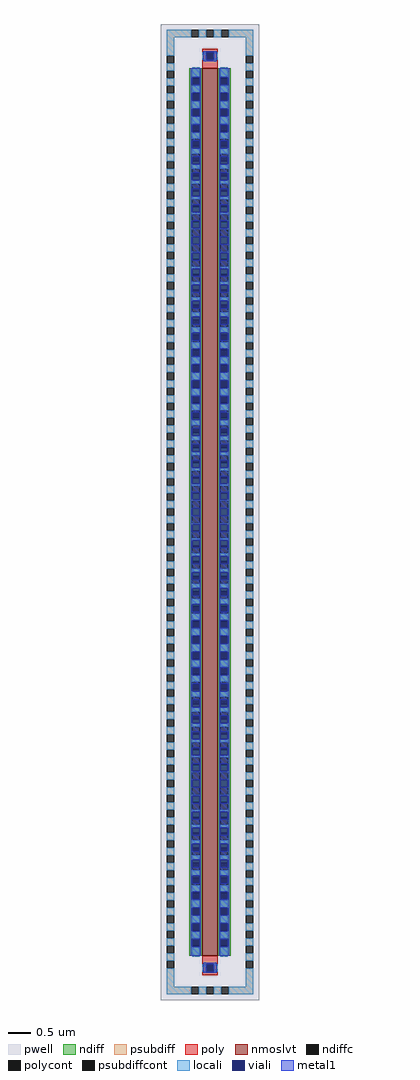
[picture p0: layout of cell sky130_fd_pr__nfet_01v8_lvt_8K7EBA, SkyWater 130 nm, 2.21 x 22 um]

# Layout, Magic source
magic
tech sky130A
magscale 1 2
<< pwell >>
rect -221 -2200 221 2200
<< nmoslvt >>
rect -35 -2000 35 2000
<< ndiff >>
rect -93 1955 -35 2000
rect -93 1921 -81 1955
rect -47 1921 -35 1955
rect -93 1887 -35 1921
rect -93 1853 -81 1887
rect -47 1853 -35 1887
rect -93 1819 -35 1853
rect -93 1785 -81 1819
rect -47 1785 -35 1819
rect -93 1751 -35 1785
rect -93 1717 -81 1751
rect -47 1717 -35 1751
rect -93 1683 -35 1717
rect -93 1649 -81 1683
rect -47 1649 -35 1683
rect -93 1615 -35 1649
rect -93 1581 -81 1615
rect -47 1581 -35 1615
rect -93 1547 -35 1581
rect -93 1513 -81 1547
rect -47 1513 -35 1547
rect -93 1479 -35 1513
rect -93 1445 -81 1479
rect -47 1445 -35 1479
rect -93 1411 -35 1445
rect -93 1377 -81 1411
rect -47 1377 -35 1411
rect -93 1343 -35 1377
rect -93 1309 -81 1343
rect -47 1309 -35 1343
rect -93 1275 -35 1309
rect -93 1241 -81 1275
rect -47 1241 -35 1275
rect -93 1207 -35 1241
rect -93 1173 -81 1207
rect -47 1173 -35 1207
rect -93 1139 -35 1173
rect -93 1105 -81 1139
rect -47 1105 -35 1139
rect -93 1071 -35 1105
rect -93 1037 -81 1071
rect -47 1037 -35 1071
rect -93 1003 -35 1037
rect -93 969 -81 1003
rect -47 969 -35 1003
rect -93 935 -35 969
rect -93 901 -81 935
rect -47 901 -35 935
rect -93 867 -35 901
rect -93 833 -81 867
rect -47 833 -35 867
rect -93 799 -35 833
rect -93 765 -81 799
rect -47 765 -35 799
rect -93 731 -35 765
rect -93 697 -81 731
rect -47 697 -35 731
rect -93 663 -35 697
rect -93 629 -81 663
rect -47 629 -35 663
rect -93 595 -35 629
rect -93 561 -81 595
rect -47 561 -35 595
rect -93 527 -35 561
rect -93 493 -81 527
rect -47 493 -35 527
rect -93 459 -35 493
rect -93 425 -81 459
rect -47 425 -35 459
rect -93 391 -35 425
rect -93 357 -81 391
rect -47 357 -35 391
rect -93 323 -35 357
rect -93 289 -81 323
rect -47 289 -35 323
rect -93 255 -35 289
rect -93 221 -81 255
rect -47 221 -35 255
rect -93 187 -35 221
rect -93 153 -81 187
rect -47 153 -35 187
rect -93 119 -35 153
rect -93 85 -81 119
rect -47 85 -35 119
rect -93 51 -35 85
rect -93 17 -81 51
rect -47 17 -35 51
rect -93 -17 -35 17
rect -93 -51 -81 -17
rect -47 -51 -35 -17
rect -93 -85 -35 -51
rect -93 -119 -81 -85
rect -47 -119 -35 -85
rect -93 -153 -35 -119
rect -93 -187 -81 -153
rect -47 -187 -35 -153
rect -93 -221 -35 -187
rect -93 -255 -81 -221
rect -47 -255 -35 -221
rect -93 -289 -35 -255
rect -93 -323 -81 -289
rect -47 -323 -35 -289
rect -93 -357 -35 -323
rect -93 -391 -81 -357
rect -47 -391 -35 -357
rect -93 -425 -35 -391
rect -93 -459 -81 -425
rect -47 -459 -35 -425
rect -93 -493 -35 -459
rect -93 -527 -81 -493
rect -47 -527 -35 -493
rect -93 -561 -35 -527
rect -93 -595 -81 -561
rect -47 -595 -35 -561
rect -93 -629 -35 -595
rect -93 -663 -81 -629
rect -47 -663 -35 -629
rect -93 -697 -35 -663
rect -93 -731 -81 -697
rect -47 -731 -35 -697
rect -93 -765 -35 -731
rect -93 -799 -81 -765
rect -47 -799 -35 -765
rect -93 -833 -35 -799
rect -93 -867 -81 -833
rect -47 -867 -35 -833
rect -93 -901 -35 -867
rect -93 -935 -81 -901
rect -47 -935 -35 -901
rect -93 -969 -35 -935
rect -93 -1003 -81 -969
rect -47 -1003 -35 -969
rect -93 -1037 -35 -1003
rect -93 -1071 -81 -1037
rect -47 -1071 -35 -1037
rect -93 -1105 -35 -1071
rect -93 -1139 -81 -1105
rect -47 -1139 -35 -1105
rect -93 -1173 -35 -1139
rect -93 -1207 -81 -1173
rect -47 -1207 -35 -1173
rect -93 -1241 -35 -1207
rect -93 -1275 -81 -1241
rect -47 -1275 -35 -1241
rect -93 -1309 -35 -1275
rect -93 -1343 -81 -1309
rect -47 -1343 -35 -1309
rect -93 -1377 -35 -1343
rect -93 -1411 -81 -1377
rect -47 -1411 -35 -1377
rect -93 -1445 -35 -1411
rect -93 -1479 -81 -1445
rect -47 -1479 -35 -1445
rect -93 -1513 -35 -1479
rect -93 -1547 -81 -1513
rect -47 -1547 -35 -1513
rect -93 -1581 -35 -1547
rect -93 -1615 -81 -1581
rect -47 -1615 -35 -1581
rect -93 -1649 -35 -1615
rect -93 -1683 -81 -1649
rect -47 -1683 -35 -1649
rect -93 -1717 -35 -1683
rect -93 -1751 -81 -1717
rect -47 -1751 -35 -1717
rect -93 -1785 -35 -1751
rect -93 -1819 -81 -1785
rect -47 -1819 -35 -1785
rect -93 -1853 -35 -1819
rect -93 -1887 -81 -1853
rect -47 -1887 -35 -1853
rect -93 -1921 -35 -1887
rect -93 -1955 -81 -1921
rect -47 -1955 -35 -1921
rect -93 -2000 -35 -1955
rect 35 1955 93 2000
rect 35 1921 47 1955
rect 81 1921 93 1955
rect 35 1887 93 1921
rect 35 1853 47 1887
rect 81 1853 93 1887
rect 35 1819 93 1853
rect 35 1785 47 1819
rect 81 1785 93 1819
rect 35 1751 93 1785
rect 35 1717 47 1751
rect 81 1717 93 1751
rect 35 1683 93 1717
rect 35 1649 47 1683
rect 81 1649 93 1683
rect 35 1615 93 1649
rect 35 1581 47 1615
rect 81 1581 93 1615
rect 35 1547 93 1581
rect 35 1513 47 1547
rect 81 1513 93 1547
rect 35 1479 93 1513
rect 35 1445 47 1479
rect 81 1445 93 1479
rect 35 1411 93 1445
rect 35 1377 47 1411
rect 81 1377 93 1411
rect 35 1343 93 1377
rect 35 1309 47 1343
rect 81 1309 93 1343
rect 35 1275 93 1309
rect 35 1241 47 1275
rect 81 1241 93 1275
rect 35 1207 93 1241
rect 35 1173 47 1207
rect 81 1173 93 1207
rect 35 1139 93 1173
rect 35 1105 47 1139
rect 81 1105 93 1139
rect 35 1071 93 1105
rect 35 1037 47 1071
rect 81 1037 93 1071
rect 35 1003 93 1037
rect 35 969 47 1003
rect 81 969 93 1003
rect 35 935 93 969
rect 35 901 47 935
rect 81 901 93 935
rect 35 867 93 901
rect 35 833 47 867
rect 81 833 93 867
rect 35 799 93 833
rect 35 765 47 799
rect 81 765 93 799
rect 35 731 93 765
rect 35 697 47 731
rect 81 697 93 731
rect 35 663 93 697
rect 35 629 47 663
rect 81 629 93 663
rect 35 595 93 629
rect 35 561 47 595
rect 81 561 93 595
rect 35 527 93 561
rect 35 493 47 527
rect 81 493 93 527
rect 35 459 93 493
rect 35 425 47 459
rect 81 425 93 459
rect 35 391 93 425
rect 35 357 47 391
rect 81 357 93 391
rect 35 323 93 357
rect 35 289 47 323
rect 81 289 93 323
rect 35 255 93 289
rect 35 221 47 255
rect 81 221 93 255
rect 35 187 93 221
rect 35 153 47 187
rect 81 153 93 187
rect 35 119 93 153
rect 35 85 47 119
rect 81 85 93 119
rect 35 51 93 85
rect 35 17 47 51
rect 81 17 93 51
rect 35 -17 93 17
rect 35 -51 47 -17
rect 81 -51 93 -17
rect 35 -85 93 -51
rect 35 -119 47 -85
rect 81 -119 93 -85
rect 35 -153 93 -119
rect 35 -187 47 -153
rect 81 -187 93 -153
rect 35 -221 93 -187
rect 35 -255 47 -221
rect 81 -255 93 -221
rect 35 -289 93 -255
rect 35 -323 47 -289
rect 81 -323 93 -289
rect 35 -357 93 -323
rect 35 -391 47 -357
rect 81 -391 93 -357
rect 35 -425 93 -391
rect 35 -459 47 -425
rect 81 -459 93 -425
rect 35 -493 93 -459
rect 35 -527 47 -493
rect 81 -527 93 -493
rect 35 -561 93 -527
rect 35 -595 47 -561
rect 81 -595 93 -561
rect 35 -629 93 -595
rect 35 -663 47 -629
rect 81 -663 93 -629
rect 35 -697 93 -663
rect 35 -731 47 -697
rect 81 -731 93 -697
rect 35 -765 93 -731
rect 35 -799 47 -765
rect 81 -799 93 -765
rect 35 -833 93 -799
rect 35 -867 47 -833
rect 81 -867 93 -833
rect 35 -901 93 -867
rect 35 -935 47 -901
rect 81 -935 93 -901
rect 35 -969 93 -935
rect 35 -1003 47 -969
rect 81 -1003 93 -969
rect 35 -1037 93 -1003
rect 35 -1071 47 -1037
rect 81 -1071 93 -1037
rect 35 -1105 93 -1071
rect 35 -1139 47 -1105
rect 81 -1139 93 -1105
rect 35 -1173 93 -1139
rect 35 -1207 47 -1173
rect 81 -1207 93 -1173
rect 35 -1241 93 -1207
rect 35 -1275 47 -1241
rect 81 -1275 93 -1241
rect 35 -1309 93 -1275
rect 35 -1343 47 -1309
rect 81 -1343 93 -1309
rect 35 -1377 93 -1343
rect 35 -1411 47 -1377
rect 81 -1411 93 -1377
rect 35 -1445 93 -1411
rect 35 -1479 47 -1445
rect 81 -1479 93 -1445
rect 35 -1513 93 -1479
rect 35 -1547 47 -1513
rect 81 -1547 93 -1513
rect 35 -1581 93 -1547
rect 35 -1615 47 -1581
rect 81 -1615 93 -1581
rect 35 -1649 93 -1615
rect 35 -1683 47 -1649
rect 81 -1683 93 -1649
rect 35 -1717 93 -1683
rect 35 -1751 47 -1717
rect 81 -1751 93 -1717
rect 35 -1785 93 -1751
rect 35 -1819 47 -1785
rect 81 -1819 93 -1785
rect 35 -1853 93 -1819
rect 35 -1887 47 -1853
rect 81 -1887 93 -1853
rect 35 -1921 93 -1887
rect 35 -1955 47 -1921
rect 81 -1955 93 -1921
rect 35 -2000 93 -1955
<< ndiffc >>
rect -81 1921 -47 1955
rect -81 1853 -47 1887
rect -81 1785 -47 1819
rect -81 1717 -47 1751
rect -81 1649 -47 1683
rect -81 1581 -47 1615
rect -81 1513 -47 1547
rect -81 1445 -47 1479
rect -81 1377 -47 1411
rect -81 1309 -47 1343
rect -81 1241 -47 1275
rect -81 1173 -47 1207
rect -81 1105 -47 1139
rect -81 1037 -47 1071
rect -81 969 -47 1003
rect -81 901 -47 935
rect -81 833 -47 867
rect -81 765 -47 799
rect -81 697 -47 731
rect -81 629 -47 663
rect -81 561 -47 595
rect -81 493 -47 527
rect -81 425 -47 459
rect -81 357 -47 391
rect -81 289 -47 323
rect -81 221 -47 255
rect -81 153 -47 187
rect -81 85 -47 119
rect -81 17 -47 51
rect -81 -51 -47 -17
rect -81 -119 -47 -85
rect -81 -187 -47 -153
rect -81 -255 -47 -221
rect -81 -323 -47 -289
rect -81 -391 -47 -357
rect -81 -459 -47 -425
rect -81 -527 -47 -493
rect -81 -595 -47 -561
rect -81 -663 -47 -629
rect -81 -731 -47 -697
rect -81 -799 -47 -765
rect -81 -867 -47 -833
rect -81 -935 -47 -901
rect -81 -1003 -47 -969
rect -81 -1071 -47 -1037
rect -81 -1139 -47 -1105
rect -81 -1207 -47 -1173
rect -81 -1275 -47 -1241
rect -81 -1343 -47 -1309
rect -81 -1411 -47 -1377
rect -81 -1479 -47 -1445
rect -81 -1547 -47 -1513
rect -81 -1615 -47 -1581
rect -81 -1683 -47 -1649
rect -81 -1751 -47 -1717
rect -81 -1819 -47 -1785
rect -81 -1887 -47 -1853
rect -81 -1955 -47 -1921
rect 47 1921 81 1955
rect 47 1853 81 1887
rect 47 1785 81 1819
rect 47 1717 81 1751
rect 47 1649 81 1683
rect 47 1581 81 1615
rect 47 1513 81 1547
rect 47 1445 81 1479
rect 47 1377 81 1411
rect 47 1309 81 1343
rect 47 1241 81 1275
rect 47 1173 81 1207
rect 47 1105 81 1139
rect 47 1037 81 1071
rect 47 969 81 1003
rect 47 901 81 935
rect 47 833 81 867
rect 47 765 81 799
rect 47 697 81 731
rect 47 629 81 663
rect 47 561 81 595
rect 47 493 81 527
rect 47 425 81 459
rect 47 357 81 391
rect 47 289 81 323
rect 47 221 81 255
rect 47 153 81 187
rect 47 85 81 119
rect 47 17 81 51
rect 47 -51 81 -17
rect 47 -119 81 -85
rect 47 -187 81 -153
rect 47 -255 81 -221
rect 47 -323 81 -289
rect 47 -391 81 -357
rect 47 -459 81 -425
rect 47 -527 81 -493
rect 47 -595 81 -561
rect 47 -663 81 -629
rect 47 -731 81 -697
rect 47 -799 81 -765
rect 47 -867 81 -833
rect 47 -935 81 -901
rect 47 -1003 81 -969
rect 47 -1071 81 -1037
rect 47 -1139 81 -1105
rect 47 -1207 81 -1173
rect 47 -1275 81 -1241
rect 47 -1343 81 -1309
rect 47 -1411 81 -1377
rect 47 -1479 81 -1445
rect 47 -1547 81 -1513
rect 47 -1615 81 -1581
rect 47 -1683 81 -1649
rect 47 -1751 81 -1717
rect 47 -1819 81 -1785
rect 47 -1887 81 -1853
rect 47 -1955 81 -1921
<< psubdiff >>
rect -195 2140 -85 2174
rect -51 2140 -17 2174
rect 17 2140 51 2174
rect 85 2140 195 2174
rect -195 2057 -161 2140
rect -195 1989 -161 2023
rect 161 2057 195 2140
rect -195 1921 -161 1955
rect -195 1853 -161 1887
rect -195 1785 -161 1819
rect -195 1717 -161 1751
rect -195 1649 -161 1683
rect -195 1581 -161 1615
rect -195 1513 -161 1547
rect -195 1445 -161 1479
rect -195 1377 -161 1411
rect -195 1309 -161 1343
rect -195 1241 -161 1275
rect -195 1173 -161 1207
rect -195 1105 -161 1139
rect -195 1037 -161 1071
rect -195 969 -161 1003
rect -195 901 -161 935
rect -195 833 -161 867
rect -195 765 -161 799
rect -195 697 -161 731
rect -195 629 -161 663
rect -195 561 -161 595
rect -195 493 -161 527
rect -195 425 -161 459
rect -195 357 -161 391
rect -195 289 -161 323
rect -195 221 -161 255
rect -195 153 -161 187
rect -195 85 -161 119
rect -195 17 -161 51
rect -195 -51 -161 -17
rect -195 -119 -161 -85
rect -195 -187 -161 -153
rect -195 -255 -161 -221
rect -195 -323 -161 -289
rect -195 -391 -161 -357
rect -195 -459 -161 -425
rect -195 -527 -161 -493
rect -195 -595 -161 -561
rect -195 -663 -161 -629
rect -195 -731 -161 -697
rect -195 -799 -161 -765
rect -195 -867 -161 -833
rect -195 -935 -161 -901
rect -195 -1003 -161 -969
rect -195 -1071 -161 -1037
rect -195 -1139 -161 -1105
rect -195 -1207 -161 -1173
rect -195 -1275 -161 -1241
rect -195 -1343 -161 -1309
rect -195 -1411 -161 -1377
rect -195 -1479 -161 -1445
rect -195 -1547 -161 -1513
rect -195 -1615 -161 -1581
rect -195 -1683 -161 -1649
rect -195 -1751 -161 -1717
rect -195 -1819 -161 -1785
rect -195 -1887 -161 -1853
rect -195 -1955 -161 -1921
rect -195 -2023 -161 -1989
rect 161 1989 195 2023
rect 161 1921 195 1955
rect 161 1853 195 1887
rect 161 1785 195 1819
rect 161 1717 195 1751
rect 161 1649 195 1683
rect 161 1581 195 1615
rect 161 1513 195 1547
rect 161 1445 195 1479
rect 161 1377 195 1411
rect 161 1309 195 1343
rect 161 1241 195 1275
rect 161 1173 195 1207
rect 161 1105 195 1139
rect 161 1037 195 1071
rect 161 969 195 1003
rect 161 901 195 935
rect 161 833 195 867
rect 161 765 195 799
rect 161 697 195 731
rect 161 629 195 663
rect 161 561 195 595
rect 161 493 195 527
rect 161 425 195 459
rect 161 357 195 391
rect 161 289 195 323
rect 161 221 195 255
rect 161 153 195 187
rect 161 85 195 119
rect 161 17 195 51
rect 161 -51 195 -17
rect 161 -119 195 -85
rect 161 -187 195 -153
rect 161 -255 195 -221
rect 161 -323 195 -289
rect 161 -391 195 -357
rect 161 -459 195 -425
rect 161 -527 195 -493
rect 161 -595 195 -561
rect 161 -663 195 -629
rect 161 -731 195 -697
rect 161 -799 195 -765
rect 161 -867 195 -833
rect 161 -935 195 -901
rect 161 -1003 195 -969
rect 161 -1071 195 -1037
rect 161 -1139 195 -1105
rect 161 -1207 195 -1173
rect 161 -1275 195 -1241
rect 161 -1343 195 -1309
rect 161 -1411 195 -1377
rect 161 -1479 195 -1445
rect 161 -1547 195 -1513
rect 161 -1615 195 -1581
rect 161 -1683 195 -1649
rect 161 -1751 195 -1717
rect 161 -1819 195 -1785
rect 161 -1887 195 -1853
rect 161 -1955 195 -1921
rect -195 -2140 -161 -2057
rect 161 -2023 195 -1989
rect 161 -2140 195 -2057
rect -195 -2174 -85 -2140
rect -51 -2174 -17 -2140
rect 17 -2174 51 -2140
rect 85 -2174 195 -2140
<< psubdiffcont >>
rect -85 2140 -51 2174
rect -17 2140 17 2174
rect 51 2140 85 2174
rect -195 2023 -161 2057
rect 161 2023 195 2057
rect -195 1955 -161 1989
rect -195 1887 -161 1921
rect -195 1819 -161 1853
rect -195 1751 -161 1785
rect -195 1683 -161 1717
rect -195 1615 -161 1649
rect -195 1547 -161 1581
rect -195 1479 -161 1513
rect -195 1411 -161 1445
rect -195 1343 -161 1377
rect -195 1275 -161 1309
rect -195 1207 -161 1241
rect -195 1139 -161 1173
rect -195 1071 -161 1105
rect -195 1003 -161 1037
rect -195 935 -161 969
rect -195 867 -161 901
rect -195 799 -161 833
rect -195 731 -161 765
rect -195 663 -161 697
rect -195 595 -161 629
rect -195 527 -161 561
rect -195 459 -161 493
rect -195 391 -161 425
rect -195 323 -161 357
rect -195 255 -161 289
rect -195 187 -161 221
rect -195 119 -161 153
rect -195 51 -161 85
rect -195 -17 -161 17
rect -195 -85 -161 -51
rect -195 -153 -161 -119
rect -195 -221 -161 -187
rect -195 -289 -161 -255
rect -195 -357 -161 -323
rect -195 -425 -161 -391
rect -195 -493 -161 -459
rect -195 -561 -161 -527
rect -195 -629 -161 -595
rect -195 -697 -161 -663
rect -195 -765 -161 -731
rect -195 -833 -161 -799
rect -195 -901 -161 -867
rect -195 -969 -161 -935
rect -195 -1037 -161 -1003
rect -195 -1105 -161 -1071
rect -195 -1173 -161 -1139
rect -195 -1241 -161 -1207
rect -195 -1309 -161 -1275
rect -195 -1377 -161 -1343
rect -195 -1445 -161 -1411
rect -195 -1513 -161 -1479
rect -195 -1581 -161 -1547
rect -195 -1649 -161 -1615
rect -195 -1717 -161 -1683
rect -195 -1785 -161 -1751
rect -195 -1853 -161 -1819
rect -195 -1921 -161 -1887
rect -195 -1989 -161 -1955
rect 161 1955 195 1989
rect 161 1887 195 1921
rect 161 1819 195 1853
rect 161 1751 195 1785
rect 161 1683 195 1717
rect 161 1615 195 1649
rect 161 1547 195 1581
rect 161 1479 195 1513
rect 161 1411 195 1445
rect 161 1343 195 1377
rect 161 1275 195 1309
rect 161 1207 195 1241
rect 161 1139 195 1173
rect 161 1071 195 1105
rect 161 1003 195 1037
rect 161 935 195 969
rect 161 867 195 901
rect 161 799 195 833
rect 161 731 195 765
rect 161 663 195 697
rect 161 595 195 629
rect 161 527 195 561
rect 161 459 195 493
rect 161 391 195 425
rect 161 323 195 357
rect 161 255 195 289
rect 161 187 195 221
rect 161 119 195 153
rect 161 51 195 85
rect 161 -17 195 17
rect 161 -85 195 -51
rect 161 -153 195 -119
rect 161 -221 195 -187
rect 161 -289 195 -255
rect 161 -357 195 -323
rect 161 -425 195 -391
rect 161 -493 195 -459
rect 161 -561 195 -527
rect 161 -629 195 -595
rect 161 -697 195 -663
rect 161 -765 195 -731
rect 161 -833 195 -799
rect 161 -901 195 -867
rect 161 -969 195 -935
rect 161 -1037 195 -1003
rect 161 -1105 195 -1071
rect 161 -1173 195 -1139
rect 161 -1241 195 -1207
rect 161 -1309 195 -1275
rect 161 -1377 195 -1343
rect 161 -1445 195 -1411
rect 161 -1513 195 -1479
rect 161 -1581 195 -1547
rect 161 -1649 195 -1615
rect 161 -1717 195 -1683
rect 161 -1785 195 -1751
rect 161 -1853 195 -1819
rect 161 -1921 195 -1887
rect 161 -1989 195 -1955
rect -195 -2057 -161 -2023
rect 161 -2057 195 -2023
rect -85 -2174 -51 -2140
rect -17 -2174 17 -2140
rect 51 -2174 85 -2140
<< poly >>
rect -35 2072 35 2088
rect -35 2038 -17 2072
rect 17 2038 35 2072
rect -35 2000 35 2038
rect -35 -2038 35 -2000
rect -35 -2072 -17 -2038
rect 17 -2072 35 -2038
rect -35 -2088 35 -2072
<< polycont >>
rect -17 2038 17 2072
rect -17 -2072 17 -2038
<< locali >>
rect -195 2140 -85 2174
rect -51 2140 -17 2174
rect 17 2140 51 2174
rect 85 2140 195 2174
rect -195 2057 -161 2140
rect -35 2038 -17 2072
rect 17 2038 35 2072
rect 161 2057 195 2140
rect -195 1989 -161 2023
rect -195 1921 -161 1955
rect -195 1853 -161 1887
rect -195 1785 -161 1819
rect -195 1717 -161 1751
rect -195 1649 -161 1683
rect -195 1581 -161 1615
rect -195 1513 -161 1547
rect -195 1445 -161 1479
rect -195 1377 -161 1411
rect -195 1309 -161 1343
rect -195 1241 -161 1275
rect -195 1173 -161 1207
rect -195 1105 -161 1139
rect -195 1037 -161 1071
rect -195 969 -161 1003
rect -195 901 -161 935
rect -195 833 -161 867
rect -195 765 -161 799
rect -195 697 -161 731
rect -195 629 -161 663
rect -195 561 -161 595
rect -195 493 -161 527
rect -195 425 -161 459
rect -195 357 -161 391
rect -195 289 -161 323
rect -195 221 -161 255
rect -195 153 -161 187
rect -195 85 -161 119
rect -195 17 -161 51
rect -195 -51 -161 -17
rect -195 -119 -161 -85
rect -195 -187 -161 -153
rect -195 -255 -161 -221
rect -195 -323 -161 -289
rect -195 -391 -161 -357
rect -195 -459 -161 -425
rect -195 -527 -161 -493
rect -195 -595 -161 -561
rect -195 -663 -161 -629
rect -195 -731 -161 -697
rect -195 -799 -161 -765
rect -195 -867 -161 -833
rect -195 -935 -161 -901
rect -195 -1003 -161 -969
rect -195 -1071 -161 -1037
rect -195 -1139 -161 -1105
rect -195 -1207 -161 -1173
rect -195 -1275 -161 -1241
rect -195 -1343 -161 -1309
rect -195 -1411 -161 -1377
rect -195 -1479 -161 -1445
rect -195 -1547 -161 -1513
rect -195 -1615 -161 -1581
rect -195 -1683 -161 -1649
rect -195 -1751 -161 -1717
rect -195 -1819 -161 -1785
rect -195 -1887 -161 -1853
rect -195 -1955 -161 -1921
rect -195 -2023 -161 -1989
rect -81 1961 -47 2004
rect -81 1889 -47 1921
rect -81 1819 -47 1853
rect -81 1751 -47 1783
rect -81 1683 -47 1711
rect -81 1615 -47 1639
rect -81 1547 -47 1567
rect -81 1479 -47 1495
rect -81 1411 -47 1423
rect -81 1343 -47 1351
rect -81 1275 -47 1279
rect -81 1169 -47 1173
rect -81 1097 -47 1105
rect -81 1025 -47 1037
rect -81 953 -47 969
rect -81 881 -47 901
rect -81 809 -47 833
rect -81 737 -47 765
rect -81 665 -47 697
rect -81 595 -47 629
rect -81 527 -47 559
rect -81 459 -47 487
rect -81 391 -47 415
rect -81 323 -47 343
rect -81 255 -47 271
rect -81 187 -47 199
rect -81 119 -47 127
rect -81 51 -47 55
rect -81 -55 -47 -51
rect -81 -127 -47 -119
rect -81 -199 -47 -187
rect -81 -271 -47 -255
rect -81 -343 -47 -323
rect -81 -415 -47 -391
rect -81 -487 -47 -459
rect -81 -559 -47 -527
rect -81 -629 -47 -595
rect -81 -697 -47 -665
rect -81 -765 -47 -737
rect -81 -833 -47 -809
rect -81 -901 -47 -881
rect -81 -969 -47 -953
rect -81 -1037 -47 -1025
rect -81 -1105 -47 -1097
rect -81 -1173 -47 -1169
rect -81 -1279 -47 -1275
rect -81 -1351 -47 -1343
rect -81 -1423 -47 -1411
rect -81 -1495 -47 -1479
rect -81 -1567 -47 -1547
rect -81 -1639 -47 -1615
rect -81 -1711 -47 -1683
rect -81 -1783 -47 -1751
rect -81 -1853 -47 -1819
rect -81 -1921 -47 -1889
rect -81 -2004 -47 -1961
rect 47 1961 81 2004
rect 47 1889 81 1921
rect 47 1819 81 1853
rect 47 1751 81 1783
rect 47 1683 81 1711
rect 47 1615 81 1639
rect 47 1547 81 1567
rect 47 1479 81 1495
rect 47 1411 81 1423
rect 47 1343 81 1351
rect 47 1275 81 1279
rect 47 1169 81 1173
rect 47 1097 81 1105
rect 47 1025 81 1037
rect 47 953 81 969
rect 47 881 81 901
rect 47 809 81 833
rect 47 737 81 765
rect 47 665 81 697
rect 47 595 81 629
rect 47 527 81 559
rect 47 459 81 487
rect 47 391 81 415
rect 47 323 81 343
rect 47 255 81 271
rect 47 187 81 199
rect 47 119 81 127
rect 47 51 81 55
rect 47 -55 81 -51
rect 47 -127 81 -119
rect 47 -199 81 -187
rect 47 -271 81 -255
rect 47 -343 81 -323
rect 47 -415 81 -391
rect 47 -487 81 -459
rect 47 -559 81 -527
rect 47 -629 81 -595
rect 47 -697 81 -665
rect 47 -765 81 -737
rect 47 -833 81 -809
rect 47 -901 81 -881
rect 47 -969 81 -953
rect 47 -1037 81 -1025
rect 47 -1105 81 -1097
rect 47 -1173 81 -1169
rect 47 -1279 81 -1275
rect 47 -1351 81 -1343
rect 47 -1423 81 -1411
rect 47 -1495 81 -1479
rect 47 -1567 81 -1547
rect 47 -1639 81 -1615
rect 47 -1711 81 -1683
rect 47 -1783 81 -1751
rect 47 -1853 81 -1819
rect 47 -1921 81 -1889
rect 47 -2004 81 -1961
rect 161 1989 195 2023
rect 161 1921 195 1955
rect 161 1853 195 1887
rect 161 1785 195 1819
rect 161 1717 195 1751
rect 161 1649 195 1683
rect 161 1581 195 1615
rect 161 1513 195 1547
rect 161 1445 195 1479
rect 161 1377 195 1411
rect 161 1309 195 1343
rect 161 1241 195 1275
rect 161 1173 195 1207
rect 161 1105 195 1139
rect 161 1037 195 1071
rect 161 969 195 1003
rect 161 901 195 935
rect 161 833 195 867
rect 161 765 195 799
rect 161 697 195 731
rect 161 629 195 663
rect 161 561 195 595
rect 161 493 195 527
rect 161 425 195 459
rect 161 357 195 391
rect 161 289 195 323
rect 161 221 195 255
rect 161 153 195 187
rect 161 85 195 119
rect 161 17 195 51
rect 161 -51 195 -17
rect 161 -119 195 -85
rect 161 -187 195 -153
rect 161 -255 195 -221
rect 161 -323 195 -289
rect 161 -391 195 -357
rect 161 -459 195 -425
rect 161 -527 195 -493
rect 161 -595 195 -561
rect 161 -663 195 -629
rect 161 -731 195 -697
rect 161 -799 195 -765
rect 161 -867 195 -833
rect 161 -935 195 -901
rect 161 -1003 195 -969
rect 161 -1071 195 -1037
rect 161 -1139 195 -1105
rect 161 -1207 195 -1173
rect 161 -1275 195 -1241
rect 161 -1343 195 -1309
rect 161 -1411 195 -1377
rect 161 -1479 195 -1445
rect 161 -1547 195 -1513
rect 161 -1615 195 -1581
rect 161 -1683 195 -1649
rect 161 -1751 195 -1717
rect 161 -1819 195 -1785
rect 161 -1887 195 -1853
rect 161 -1955 195 -1921
rect 161 -2023 195 -1989
rect -195 -2140 -161 -2057
rect -35 -2072 -17 -2038
rect 17 -2072 35 -2038
rect 161 -2140 195 -2057
rect -195 -2174 -85 -2140
rect -51 -2174 -17 -2140
rect 17 -2174 51 -2140
rect 85 -2174 195 -2140
<< viali >>
rect -17 2038 17 2072
rect -81 1955 -47 1961
rect -81 1927 -47 1955
rect -81 1887 -47 1889
rect -81 1855 -47 1887
rect -81 1785 -47 1817
rect -81 1783 -47 1785
rect -81 1717 -47 1745
rect -81 1711 -47 1717
rect -81 1649 -47 1673
rect -81 1639 -47 1649
rect -81 1581 -47 1601
rect -81 1567 -47 1581
rect -81 1513 -47 1529
rect -81 1495 -47 1513
rect -81 1445 -47 1457
rect -81 1423 -47 1445
rect -81 1377 -47 1385
rect -81 1351 -47 1377
rect -81 1309 -47 1313
rect -81 1279 -47 1309
rect -81 1207 -47 1241
rect -81 1139 -47 1169
rect -81 1135 -47 1139
rect -81 1071 -47 1097
rect -81 1063 -47 1071
rect -81 1003 -47 1025
rect -81 991 -47 1003
rect -81 935 -47 953
rect -81 919 -47 935
rect -81 867 -47 881
rect -81 847 -47 867
rect -81 799 -47 809
rect -81 775 -47 799
rect -81 731 -47 737
rect -81 703 -47 731
rect -81 663 -47 665
rect -81 631 -47 663
rect -81 561 -47 593
rect -81 559 -47 561
rect -81 493 -47 521
rect -81 487 -47 493
rect -81 425 -47 449
rect -81 415 -47 425
rect -81 357 -47 377
rect -81 343 -47 357
rect -81 289 -47 305
rect -81 271 -47 289
rect -81 221 -47 233
rect -81 199 -47 221
rect -81 153 -47 161
rect -81 127 -47 153
rect -81 85 -47 89
rect -81 55 -47 85
rect -81 -17 -47 17
rect -81 -85 -47 -55
rect -81 -89 -47 -85
rect -81 -153 -47 -127
rect -81 -161 -47 -153
rect -81 -221 -47 -199
rect -81 -233 -47 -221
rect -81 -289 -47 -271
rect -81 -305 -47 -289
rect -81 -357 -47 -343
rect -81 -377 -47 -357
rect -81 -425 -47 -415
rect -81 -449 -47 -425
rect -81 -493 -47 -487
rect -81 -521 -47 -493
rect -81 -561 -47 -559
rect -81 -593 -47 -561
rect -81 -663 -47 -631
rect -81 -665 -47 -663
rect -81 -731 -47 -703
rect -81 -737 -47 -731
rect -81 -799 -47 -775
rect -81 -809 -47 -799
rect -81 -867 -47 -847
rect -81 -881 -47 -867
rect -81 -935 -47 -919
rect -81 -953 -47 -935
rect -81 -1003 -47 -991
rect -81 -1025 -47 -1003
rect -81 -1071 -47 -1063
rect -81 -1097 -47 -1071
rect -81 -1139 -47 -1135
rect -81 -1169 -47 -1139
rect -81 -1241 -47 -1207
rect -81 -1309 -47 -1279
rect -81 -1313 -47 -1309
rect -81 -1377 -47 -1351
rect -81 -1385 -47 -1377
rect -81 -1445 -47 -1423
rect -81 -1457 -47 -1445
rect -81 -1513 -47 -1495
rect -81 -1529 -47 -1513
rect -81 -1581 -47 -1567
rect -81 -1601 -47 -1581
rect -81 -1649 -47 -1639
rect -81 -1673 -47 -1649
rect -81 -1717 -47 -1711
rect -81 -1745 -47 -1717
rect -81 -1785 -47 -1783
rect -81 -1817 -47 -1785
rect -81 -1887 -47 -1855
rect -81 -1889 -47 -1887
rect -81 -1955 -47 -1927
rect -81 -1961 -47 -1955
rect 47 1955 81 1961
rect 47 1927 81 1955
rect 47 1887 81 1889
rect 47 1855 81 1887
rect 47 1785 81 1817
rect 47 1783 81 1785
rect 47 1717 81 1745
rect 47 1711 81 1717
rect 47 1649 81 1673
rect 47 1639 81 1649
rect 47 1581 81 1601
rect 47 1567 81 1581
rect 47 1513 81 1529
rect 47 1495 81 1513
rect 47 1445 81 1457
rect 47 1423 81 1445
rect 47 1377 81 1385
rect 47 1351 81 1377
rect 47 1309 81 1313
rect 47 1279 81 1309
rect 47 1207 81 1241
rect 47 1139 81 1169
rect 47 1135 81 1139
rect 47 1071 81 1097
rect 47 1063 81 1071
rect 47 1003 81 1025
rect 47 991 81 1003
rect 47 935 81 953
rect 47 919 81 935
rect 47 867 81 881
rect 47 847 81 867
rect 47 799 81 809
rect 47 775 81 799
rect 47 731 81 737
rect 47 703 81 731
rect 47 663 81 665
rect 47 631 81 663
rect 47 561 81 593
rect 47 559 81 561
rect 47 493 81 521
rect 47 487 81 493
rect 47 425 81 449
rect 47 415 81 425
rect 47 357 81 377
rect 47 343 81 357
rect 47 289 81 305
rect 47 271 81 289
rect 47 221 81 233
rect 47 199 81 221
rect 47 153 81 161
rect 47 127 81 153
rect 47 85 81 89
rect 47 55 81 85
rect 47 -17 81 17
rect 47 -85 81 -55
rect 47 -89 81 -85
rect 47 -153 81 -127
rect 47 -161 81 -153
rect 47 -221 81 -199
rect 47 -233 81 -221
rect 47 -289 81 -271
rect 47 -305 81 -289
rect 47 -357 81 -343
rect 47 -377 81 -357
rect 47 -425 81 -415
rect 47 -449 81 -425
rect 47 -493 81 -487
rect 47 -521 81 -493
rect 47 -561 81 -559
rect 47 -593 81 -561
rect 47 -663 81 -631
rect 47 -665 81 -663
rect 47 -731 81 -703
rect 47 -737 81 -731
rect 47 -799 81 -775
rect 47 -809 81 -799
rect 47 -867 81 -847
rect 47 -881 81 -867
rect 47 -935 81 -919
rect 47 -953 81 -935
rect 47 -1003 81 -991
rect 47 -1025 81 -1003
rect 47 -1071 81 -1063
rect 47 -1097 81 -1071
rect 47 -1139 81 -1135
rect 47 -1169 81 -1139
rect 47 -1241 81 -1207
rect 47 -1309 81 -1279
rect 47 -1313 81 -1309
rect 47 -1377 81 -1351
rect 47 -1385 81 -1377
rect 47 -1445 81 -1423
rect 47 -1457 81 -1445
rect 47 -1513 81 -1495
rect 47 -1529 81 -1513
rect 47 -1581 81 -1567
rect 47 -1601 81 -1581
rect 47 -1649 81 -1639
rect 47 -1673 81 -1649
rect 47 -1717 81 -1711
rect 47 -1745 81 -1717
rect 47 -1785 81 -1783
rect 47 -1817 81 -1785
rect 47 -1887 81 -1855
rect 47 -1889 81 -1887
rect 47 -1955 81 -1927
rect 47 -1961 81 -1955
rect -17 -2072 17 -2038
<< metal1 >>
rect -31 2072 31 2078
rect -31 2038 -17 2072
rect 17 2038 31 2072
rect -31 2032 31 2038
rect -87 1961 -41 2000
rect -87 1927 -81 1961
rect -47 1927 -41 1961
rect -87 1889 -41 1927
rect -87 1855 -81 1889
rect -47 1855 -41 1889
rect -87 1817 -41 1855
rect -87 1783 -81 1817
rect -47 1783 -41 1817
rect -87 1745 -41 1783
rect -87 1711 -81 1745
rect -47 1711 -41 1745
rect -87 1673 -41 1711
rect -87 1639 -81 1673
rect -47 1639 -41 1673
rect -87 1601 -41 1639
rect -87 1567 -81 1601
rect -47 1567 -41 1601
rect -87 1529 -41 1567
rect -87 1495 -81 1529
rect -47 1495 -41 1529
rect -87 1457 -41 1495
rect -87 1423 -81 1457
rect -47 1423 -41 1457
rect -87 1385 -41 1423
rect -87 1351 -81 1385
rect -47 1351 -41 1385
rect -87 1313 -41 1351
rect -87 1279 -81 1313
rect -47 1279 -41 1313
rect -87 1241 -41 1279
rect -87 1207 -81 1241
rect -47 1207 -41 1241
rect -87 1169 -41 1207
rect -87 1135 -81 1169
rect -47 1135 -41 1169
rect -87 1097 -41 1135
rect -87 1063 -81 1097
rect -47 1063 -41 1097
rect -87 1025 -41 1063
rect -87 991 -81 1025
rect -47 991 -41 1025
rect -87 953 -41 991
rect -87 919 -81 953
rect -47 919 -41 953
rect -87 881 -41 919
rect -87 847 -81 881
rect -47 847 -41 881
rect -87 809 -41 847
rect -87 775 -81 809
rect -47 775 -41 809
rect -87 737 -41 775
rect -87 703 -81 737
rect -47 703 -41 737
rect -87 665 -41 703
rect -87 631 -81 665
rect -47 631 -41 665
rect -87 593 -41 631
rect -87 559 -81 593
rect -47 559 -41 593
rect -87 521 -41 559
rect -87 487 -81 521
rect -47 487 -41 521
rect -87 449 -41 487
rect -87 415 -81 449
rect -47 415 -41 449
rect -87 377 -41 415
rect -87 343 -81 377
rect -47 343 -41 377
rect -87 305 -41 343
rect -87 271 -81 305
rect -47 271 -41 305
rect -87 233 -41 271
rect -87 199 -81 233
rect -47 199 -41 233
rect -87 161 -41 199
rect -87 127 -81 161
rect -47 127 -41 161
rect -87 89 -41 127
rect -87 55 -81 89
rect -47 55 -41 89
rect -87 17 -41 55
rect -87 -17 -81 17
rect -47 -17 -41 17
rect -87 -55 -41 -17
rect -87 -89 -81 -55
rect -47 -89 -41 -55
rect -87 -127 -41 -89
rect -87 -161 -81 -127
rect -47 -161 -41 -127
rect -87 -199 -41 -161
rect -87 -233 -81 -199
rect -47 -233 -41 -199
rect -87 -271 -41 -233
rect -87 -305 -81 -271
rect -47 -305 -41 -271
rect -87 -343 -41 -305
rect -87 -377 -81 -343
rect -47 -377 -41 -343
rect -87 -415 -41 -377
rect -87 -449 -81 -415
rect -47 -449 -41 -415
rect -87 -487 -41 -449
rect -87 -521 -81 -487
rect -47 -521 -41 -487
rect -87 -559 -41 -521
rect -87 -593 -81 -559
rect -47 -593 -41 -559
rect -87 -631 -41 -593
rect -87 -665 -81 -631
rect -47 -665 -41 -631
rect -87 -703 -41 -665
rect -87 -737 -81 -703
rect -47 -737 -41 -703
rect -87 -775 -41 -737
rect -87 -809 -81 -775
rect -47 -809 -41 -775
rect -87 -847 -41 -809
rect -87 -881 -81 -847
rect -47 -881 -41 -847
rect -87 -919 -41 -881
rect -87 -953 -81 -919
rect -47 -953 -41 -919
rect -87 -991 -41 -953
rect -87 -1025 -81 -991
rect -47 -1025 -41 -991
rect -87 -1063 -41 -1025
rect -87 -1097 -81 -1063
rect -47 -1097 -41 -1063
rect -87 -1135 -41 -1097
rect -87 -1169 -81 -1135
rect -47 -1169 -41 -1135
rect -87 -1207 -41 -1169
rect -87 -1241 -81 -1207
rect -47 -1241 -41 -1207
rect -87 -1279 -41 -1241
rect -87 -1313 -81 -1279
rect -47 -1313 -41 -1279
rect -87 -1351 -41 -1313
rect -87 -1385 -81 -1351
rect -47 -1385 -41 -1351
rect -87 -1423 -41 -1385
rect -87 -1457 -81 -1423
rect -47 -1457 -41 -1423
rect -87 -1495 -41 -1457
rect -87 -1529 -81 -1495
rect -47 -1529 -41 -1495
rect -87 -1567 -41 -1529
rect -87 -1601 -81 -1567
rect -47 -1601 -41 -1567
rect -87 -1639 -41 -1601
rect -87 -1673 -81 -1639
rect -47 -1673 -41 -1639
rect -87 -1711 -41 -1673
rect -87 -1745 -81 -1711
rect -47 -1745 -41 -1711
rect -87 -1783 -41 -1745
rect -87 -1817 -81 -1783
rect -47 -1817 -41 -1783
rect -87 -1855 -41 -1817
rect -87 -1889 -81 -1855
rect -47 -1889 -41 -1855
rect -87 -1927 -41 -1889
rect -87 -1961 -81 -1927
rect -47 -1961 -41 -1927
rect -87 -2000 -41 -1961
rect 41 1961 87 2000
rect 41 1927 47 1961
rect 81 1927 87 1961
rect 41 1889 87 1927
rect 41 1855 47 1889
rect 81 1855 87 1889
rect 41 1817 87 1855
rect 41 1783 47 1817
rect 81 1783 87 1817
rect 41 1745 87 1783
rect 41 1711 47 1745
rect 81 1711 87 1745
rect 41 1673 87 1711
rect 41 1639 47 1673
rect 81 1639 87 1673
rect 41 1601 87 1639
rect 41 1567 47 1601
rect 81 1567 87 1601
rect 41 1529 87 1567
rect 41 1495 47 1529
rect 81 1495 87 1529
rect 41 1457 87 1495
rect 41 1423 47 1457
rect 81 1423 87 1457
rect 41 1385 87 1423
rect 41 1351 47 1385
rect 81 1351 87 1385
rect 41 1313 87 1351
rect 41 1279 47 1313
rect 81 1279 87 1313
rect 41 1241 87 1279
rect 41 1207 47 1241
rect 81 1207 87 1241
rect 41 1169 87 1207
rect 41 1135 47 1169
rect 81 1135 87 1169
rect 41 1097 87 1135
rect 41 1063 47 1097
rect 81 1063 87 1097
rect 41 1025 87 1063
rect 41 991 47 1025
rect 81 991 87 1025
rect 41 953 87 991
rect 41 919 47 953
rect 81 919 87 953
rect 41 881 87 919
rect 41 847 47 881
rect 81 847 87 881
rect 41 809 87 847
rect 41 775 47 809
rect 81 775 87 809
rect 41 737 87 775
rect 41 703 47 737
rect 81 703 87 737
rect 41 665 87 703
rect 41 631 47 665
rect 81 631 87 665
rect 41 593 87 631
rect 41 559 47 593
rect 81 559 87 593
rect 41 521 87 559
rect 41 487 47 521
rect 81 487 87 521
rect 41 449 87 487
rect 41 415 47 449
rect 81 415 87 449
rect 41 377 87 415
rect 41 343 47 377
rect 81 343 87 377
rect 41 305 87 343
rect 41 271 47 305
rect 81 271 87 305
rect 41 233 87 271
rect 41 199 47 233
rect 81 199 87 233
rect 41 161 87 199
rect 41 127 47 161
rect 81 127 87 161
rect 41 89 87 127
rect 41 55 47 89
rect 81 55 87 89
rect 41 17 87 55
rect 41 -17 47 17
rect 81 -17 87 17
rect 41 -55 87 -17
rect 41 -89 47 -55
rect 81 -89 87 -55
rect 41 -127 87 -89
rect 41 -161 47 -127
rect 81 -161 87 -127
rect 41 -199 87 -161
rect 41 -233 47 -199
rect 81 -233 87 -199
rect 41 -271 87 -233
rect 41 -305 47 -271
rect 81 -305 87 -271
rect 41 -343 87 -305
rect 41 -377 47 -343
rect 81 -377 87 -343
rect 41 -415 87 -377
rect 41 -449 47 -415
rect 81 -449 87 -415
rect 41 -487 87 -449
rect 41 -521 47 -487
rect 81 -521 87 -487
rect 41 -559 87 -521
rect 41 -593 47 -559
rect 81 -593 87 -559
rect 41 -631 87 -593
rect 41 -665 47 -631
rect 81 -665 87 -631
rect 41 -703 87 -665
rect 41 -737 47 -703
rect 81 -737 87 -703
rect 41 -775 87 -737
rect 41 -809 47 -775
rect 81 -809 87 -775
rect 41 -847 87 -809
rect 41 -881 47 -847
rect 81 -881 87 -847
rect 41 -919 87 -881
rect 41 -953 47 -919
rect 81 -953 87 -919
rect 41 -991 87 -953
rect 41 -1025 47 -991
rect 81 -1025 87 -991
rect 41 -1063 87 -1025
rect 41 -1097 47 -1063
rect 81 -1097 87 -1063
rect 41 -1135 87 -1097
rect 41 -1169 47 -1135
rect 81 -1169 87 -1135
rect 41 -1207 87 -1169
rect 41 -1241 47 -1207
rect 81 -1241 87 -1207
rect 41 -1279 87 -1241
rect 41 -1313 47 -1279
rect 81 -1313 87 -1279
rect 41 -1351 87 -1313
rect 41 -1385 47 -1351
rect 81 -1385 87 -1351
rect 41 -1423 87 -1385
rect 41 -1457 47 -1423
rect 81 -1457 87 -1423
rect 41 -1495 87 -1457
rect 41 -1529 47 -1495
rect 81 -1529 87 -1495
rect 41 -1567 87 -1529
rect 41 -1601 47 -1567
rect 81 -1601 87 -1567
rect 41 -1639 87 -1601
rect 41 -1673 47 -1639
rect 81 -1673 87 -1639
rect 41 -1711 87 -1673
rect 41 -1745 47 -1711
rect 81 -1745 87 -1711
rect 41 -1783 87 -1745
rect 41 -1817 47 -1783
rect 81 -1817 87 -1783
rect 41 -1855 87 -1817
rect 41 -1889 47 -1855
rect 81 -1889 87 -1855
rect 41 -1927 87 -1889
rect 41 -1961 47 -1927
rect 81 -1961 87 -1927
rect 41 -2000 87 -1961
rect -31 -2038 31 -2032
rect -31 -2072 -17 -2038
rect 17 -2072 31 -2038
rect -31 -2078 31 -2072
<< properties >>
string FIXED_BBOX -178 -2157 178 2157
<< end >>
